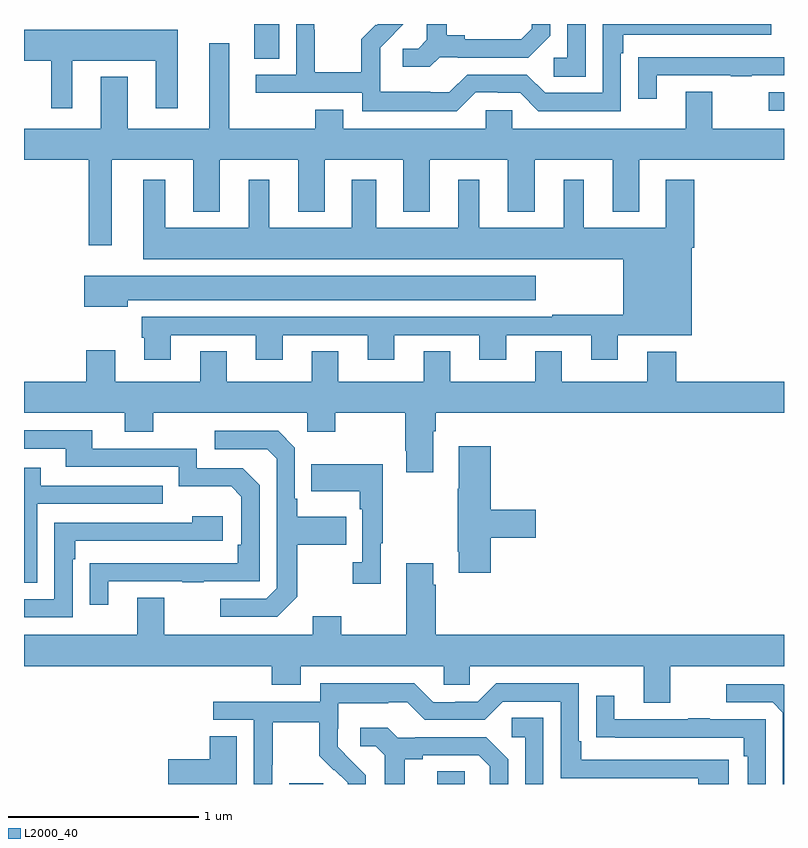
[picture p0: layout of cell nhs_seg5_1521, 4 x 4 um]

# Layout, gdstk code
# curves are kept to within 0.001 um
import gdstk
lib = gdstk.Library(unit=1e-6, precision=1e-09)
def R(c, l, rs):  # rectangles x0, y0, x1, y1
    for r in rs: c.add(gdstk.rectangle(r[:2], r[2:], *l))
def P(c, l, *ps):  # polygons
    for p in ps: c.add(gdstk.Polygon(p, *l))
L2000_40 = (2000, 40)

nhs_seg5_1521 = lib.new_cell('nhs_seg5_1521')
R(nhs_seg5_1521, L2000_40, [(204.395,862.799,204.574,862.803), (205.175,862.799,205.32,862.865), (206.919,866.343,207,866.439), (204.212,866.617,204.343,866.799)])
P(nhs_seg5_1521, L2000_40, [(205.377,866.439),(205.493,866.439),(205.493,866.436),(205.611,866.436),(205.707,866.34),(206.142,866.34),(206.142,866.645),(206.155,866.645),(206.155,866.742),(206.932,866.742),(206.932,866.799),(206.046,866.799),(206.046,866.436),(205.743,866.436),(205.647,866.532),(205.332,866.532),(205.239,866.439),(205.139,866.439),(205.139,866.443),(204.876,866.443),(204.876,866.577),(204.874,866.577),(204.874,866.674),(204.997,866.799),(204.861,866.799),(204.855,866.793),(204.852,866.796),(204.775,866.719),(204.775,866.545),(204.531,866.545),(204.531,866.768),(204.528,866.768),(204.528,866.799),(204.432,866.799),(204.432,866.532),(204.219,866.532),(204.219,866.436),(204.78,866.436),(204.78,866.339),(205.277,866.339)],
  [(205.188,866.625),(205.282,866.625),(205.282,866.622),(205.654,866.622),(205.77,866.738),(205.77,866.799),(205.673,866.799),(205.673,866.775),(205.616,866.718),(205.321,866.718),(205.321,866.741),(205.225,866.741),(205.225,866.799),(205.121,866.799),(205.121,866.717),(205.074,866.67),(204.993,866.67),(204.993,866.573),(205.136,866.573)],
  [(205.956,866.799),(205.86,866.799),(205.86,866.622),(205.788,866.622),(205.788,866.521),(205.956,866.521)],
  [(203.254,866.606),(203.693,866.606),(203.693,866.355),(203.809,866.355),(203.809,866.77),(203,866.77),(203,866.606),(203.144,866.606),(203.144,866.355),(203.254,866.355)],
  [(203.461,866.084),(203.891,866.084),(203.891,865.811),(204.031,865.811),(204.031,866.084),(204.443,866.084),(204.443,865.811),(204.583,865.811),(204.583,866.084),(204.995,866.084),(204.995,865.811),(205.135,865.811),(205.135,866.084),(205.547,866.084),(205.547,865.811),(205.687,865.811),(205.687,866.084),(206.099,866.084),(206.099,865.811),(206.239,865.811),(206.239,866.084),(207,866.084),(207,866.248),(206.623,866.248),(206.623,866.443),(206.483,866.443),(206.483,866.248),(205.569,866.248),(205.569,866.346),(205.431,866.346),(205.431,866.248),(204.679,866.248),(204.679,866.347),(204.532,866.347),(204.532,866.248),(204.079,866.248),(204.079,866.698),(203.975,866.698),(203.975,866.248),(203.545,866.248),(203.545,866.521),(203.405,866.521),(203.405,866.248),(203,866.248),(203,866.084),(203.34,866.084),(203.34,865.635),(203.461,865.635)],
  [(206.329,866.529),(206.719,866.529),(206.719,866.524),(206.831,866.524),(206.831,866.529),(207,866.529),(207,866.625),(206.335,866.625),(206.335,866.624),(206.233,866.624),(206.233,866.406),(206.329,866.406)],
  [(203.773,865.161),(204.221,865.161),(204.221,865.032),(204.361,865.032),(204.361,865.161),(204.809,865.161),(204.809,865.032),(204.949,865.032),(204.949,865.161),(205.397,865.161),(205.397,865.032),(205.537,865.032),(205.537,865.161),(205.985,865.161),(205.985,865.032),(206.125,865.032),(206.125,865.16),(206.515,865.16),(206.515,865.622),(206.528,865.622),(206.528,865.978),(206.378,865.978),(206.378,865.726),(205.945,865.726),(205.945,865.978),(205.841,865.978),(205.841,865.726),(205.396,865.726),(205.396,865.978),(205.286,865.978),(205.286,865.726),(204.853,865.726),(204.853,865.978),(204.725,865.978),(204.725,865.726),(204.292,865.726),(204.292,865.978),(204.182,865.978),(204.182,865.726),(203.743,865.726),(203.743,865.978),(203.627,865.978),(203.627,865.562),(206.153,865.562),(206.153,865.27),(205.78,865.27),(205.78,865.257),(203.621,865.257),(203.621,865.149),(203.633,865.149),(203.633,865.032),(203.773,865.032)],
  [(203.545,865.346),(205.693,865.346),(205.693,865.474),(203.316,865.474),(203.316,865.31),(203.545,865.31)],
  [(207,864.916),(206.432,864.916),(206.432,865.075),(206.279,865.075),(206.279,864.916),(205.831,864.916),(205.831,865.076),(205.691,865.076),(205.691,864.916),(205.243,864.916),(205.243,865.076),(205.103,865.076),(205.103,864.916),(204.655,864.916),(204.655,865.076),(204.515,865.076),(204.515,864.916),(204.067,864.916),(204.067,865.076),(203.927,865.076),(203.927,864.916),(203.479,864.916),(203.479,865.081),(203.327,865.081),(203.327,864.916),(203,864.916),(203,864.752),(203.531,864.752),(203.531,864.653),(203.679,864.653),(203.679,864.752),(204.492,864.752),(204.492,864.653),(204.639,864.653),(204.639,864.752),(205.006,864.752),(205.006,864.553),(205.013,864.553),(205.013,864.441),(205.153,864.441),(205.153,864.656),(205.166,864.656),(205.166,864.752),(207,864.752)],
  [(203.443,863.865),(203.833,863.865),(203.833,863.86),(203.945,863.86),(203.945,863.865),(204.24,863.865),(204.24,864.372),(204.15,864.462),(203.91,864.462),(203.91,864.564),(203.359,864.564),(203.359,864.66),(203,864.66),(203,864.564),(203.219,864.564),(203.219,864.468),(203.814,864.468),(203.814,864.365),(204.091,864.365),(204.144,864.312),(204.144,864.058),(204.124,864.058),(204.124,863.961),(203.347,863.96),(203.347,863.742),(203.443,863.742)],
  [(204.439,863.785),(204.439,864.058),(204.695,864.058),(204.695,864.205),(204.439,864.205),(204.439,864.301),(204.426,864.301),(204.426,864.57),(204.339,864.657),(204.003,864.657),(204.003,864.561),(204.279,864.561),(204.33,864.51),(204.33,863.829),(204.276,863.775),(204.033,863.775),(204.033,863.679),(204.333,863.679)],
  [(205.457,864.095),(205.693,864.095),(205.693,864.242),(205.457,864.242),(205.457,864.577),(205.289,864.577),(205.289,864.353),(205.282,864.353),(205.282,864.022),(205.289,864.022),(205.289,863.91),(205.457,863.91)],
  [(204.877,864.065),(204.889,864.065),(204.889,864.481),(204.511,864.481),(204.511,864.341),(204.768,864.341),(204.768,864.245),(204.78,864.245),(204.78,863.966),(204.729,863.966),(204.729,863.853),(204.877,863.853)],
  [(203.07,864.273),(203.729,864.273),(203.729,864.369),(203.089,864.369),(203.089,864.463),(203,864.463),(203,863.857),(203.07,863.857)],
  [(203.256,863.981),(203.269,863.981),(203.269,864.078),(204.046,864.078),(204.046,864.208),(203.885,864.208),(203.885,864.174),(203.16,864.174),(203.16,863.772),(203,863.772),(203,863.676),(203.256,863.676)],
  [(206.401,863.42),(207,863.42),(207,863.584),(205.166,863.584),(205.166,863.849),(205.153,863.849),(205.153,863.962),(205.013,863.962),(205.013,863.584),(204.669,863.584),(204.669,863.683),(204.521,863.683),(204.521,863.584),(203.737,863.584),(203.737,863.779),(203.597,863.779),(203.597,863.584),(203,863.584),(203,863.42),(204.305,863.42),(204.305,863.321),(204.457,863.321),(204.457,863.42),(205.209,863.42),(205.209,863.322),(205.347,863.322),(205.347,863.42),(206.261,863.42),(206.261,863.226),(206.401,863.226)],
  [(204.306,862.9),(204.309,862.9),(204.309,863.124),(204.553,863.124),(204.553,862.949),(204.63,862.872),(204.633,862.875),(204.704,862.805),(204.704,862.799),(204.798,862.799),(204.798,862.846),(204.652,862.994),(204.652,863.091),(204.654,863.091),(204.654,863.225),(204.917,863.225),(204.917,863.229),(205.017,863.229),(205.11,863.136),(205.425,863.136),(205.521,863.232),(205.824,863.232),(205.824,862.83),(206.549,862.83),(206.549,862.799),(206.71,862.799),(206.71,862.926),(205.933,862.926),(205.933,863.023),(205.92,863.023),(205.92,863.328),(205.485,863.328),(205.389,863.232),(205.271,863.232),(205.271,863.229),(205.155,863.229),(205.055,863.329),(204.558,863.329),(204.558,863.232),(203.997,863.232),(203.997,863.136),(204.21,863.136),(204.21,862.799),(204.306,862.799)],
  [(207,863.322),(206.997,863.325),(206.697,863.325),(206.697,863.229),(206.94,863.229),(206.994,863.175),(206.994,862.799),(207,862.799)],
  [(206.904,863.139),(206.609,863.139),(206.609,863.144),(206.497,863.144),(206.497,863.139),(206.107,863.139),(206.107,863.263),(206.011,863.263),(206.011,863.044),(206.113,863.044),(206.113,863.043),(206.788,863.043),(206.788,862.946),(206.808,862.946),(206.808,862.799),(206.904,862.799)],
  [(205.734,863.147),(205.566,863.147),(205.566,863.046),(205.638,863.046),(205.638,862.799),(205.734,862.799)],
  [(205.003,862.928),(205.099,862.928),(205.099,862.95),(205.394,862.95),(205.451,862.893),(205.451,862.799),(205.548,862.799),(205.548,862.93),(205.432,863.046),(205.06,863.046),(205.06,863.043),(204.966,863.043),(204.914,863.095),(204.771,863.095),(204.771,862.998),(204.852,862.998),(204.899,862.951),(204.899,862.799),(205.003,862.799)],
  [(204.121,863.051),(203.978,863.051),(203.978,862.928),(203.76,862.928),(203.76,862.799),(204.121,862.799)])

lib.write_gds('nhs_seg5_1521.gds')
